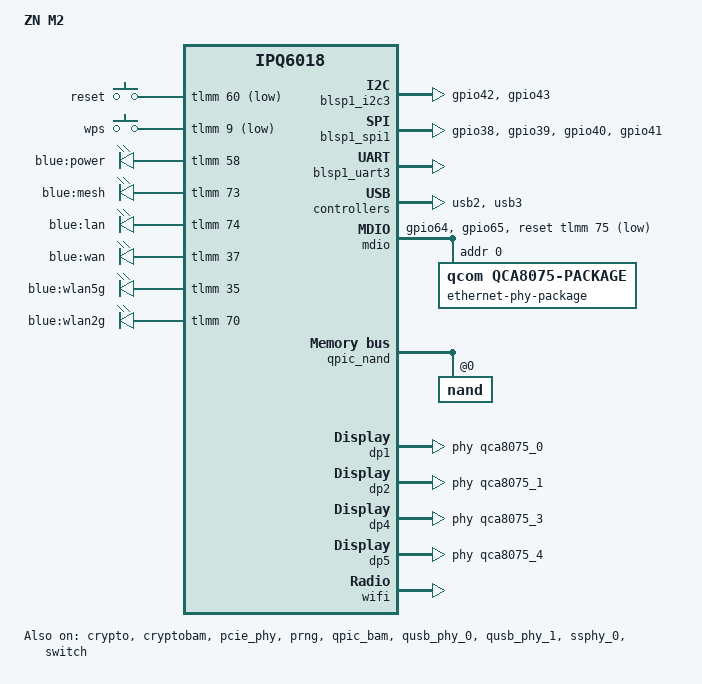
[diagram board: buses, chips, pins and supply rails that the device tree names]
// SPDX-License-Identifier: (GPL-2.0+)

/dts-v1/;

#include "ipq6018-512m.dtsi"
#include "ipq6018-ess.dtsi"
#include <dt-bindings/gpio/gpio.h>
#include <dt-bindings/input/input.h>
#include <dt-bindings/leds/common.h>


&tlmm {
	gpio-reserved-ranges = <20 1>;

	mdio_pins: mdio-pins {
		mdc {
			pins = "gpio64";
			function = "mdc";
			drive-strength = <8>;
			bias-pull-up;
		};

		mdio {
			pins = "gpio65";
			function = "mdio";
			drive-strength = <8>;
			bias-pull-up;
		};
	};

	i2c_1_pins: i2c-1-state {
		pins = "gpio42", "gpio43";
		function = "blsp2_i2c";
		drive-strength = <8>;
	};

	spi_0_pins: spi-0-state {
		pins = "gpio38", "gpio39", "gpio40", "gpio41";
		function = "blsp0_spi";
		drive-strength = <8>;
		bias-pull-down;
	};
};

&blsp1_i2c3 {
	status = "okay";
	pinctrl-0 = <&i2c_1_pins>;
	pinctrl-names = "default";
};

&blsp1_spi1 {
	status = "okay";
	pinctrl-0 = <&spi_0_pins>;
	pinctrl-names = "default";
};

&blsp1_uart3 {
	status = "okay";
	pinctrl-0 = <&serial_3_pins>;
	pinctrl-names = "default";
};

&rpm {
	status = "disabled";
};

&crypto {
	status = "okay";
};

&cryptobam {
	status = "okay";
};

&pcie_phy {
	status = "okay";
};

&prng {
	status = "okay";
};

&qpic_bam {
	status = "okay";
};

&qusb_phy_0 {
	status = "okay";
};

&qusb_phy_1 {
	status = "okay";
};

&ssphy_0 {
	status = "okay";
};

&usb2 {
	status = "okay";
};

&usb3 {
	status = "okay";
};

&cpu_opp_table {
	opp-864000000 {
		opp-supported-hw = <0xf>;
	};

	opp-1056000000 {
		opp-supported-hw = <0xf>;
	};

	opp-1200000000 {
		opp-supported-hw = <0xf>;
	};

	opp-1320000000 {
		opp-supported-hw = <0xf>;
	};

	opp-1440000000 {
		opp-supported-hw = <0xf>;
	};

	opp-1512000000 {
		opp-supported-hw = <0xf>;
	};

	opp-1608000000 {
		opp-supported-hw = <0x1>;
	};

	opp-1800000000 {
		opp-supported-hw = <0x1>;
	};
};


/ {
	aliases {
		serial0 = &blsp1_uart3;

		ethernet0 = &dp1;
		ethernet1 = &dp2;
		ethernet3 = &dp4;
		ethernet4 = &dp5;
	};

	chosen {
		stdout-path = "serial0:115200n8";
		bootargs-append = " root=/dev/ubiblock0_1";
	};

	keys {
		compatible = "gpio-keys";

		reset {
			label = "reset";
			gpios = <&tlmm 60 GPIO_ACTIVE_LOW>;
			linux,code = <KEY_RESTART>;
		};

		wps {
			label = "wps";
			gpios = <&tlmm 9 GPIO_ACTIVE_LOW>;
			linux,code = <KEY_WPS_BUTTON>;
		};
	};
};

&mdio {
	status = "okay";

	pinctrl-0 = <&mdio_pins>;
	pinctrl-names = "default";
	reset-gpios = <&tlmm 75 GPIO_ACTIVE_LOW>;

	ethernet-phy-package@0 {
		compatible = "qcom,qca8075-package";
		#address-cells = <1>;
		#size-cells = <0>;
		reg = <0>;

		qca8075_0: ethernet-phy@0 {
			compatible = "ethernet-phy-ieee802.3-c22";
			reg = <0>;
		};

		qca8075_1: ethernet-phy@1 {
			compatible = "ethernet-phy-ieee802.3-c22";
			reg = <1>;
		};

		qca8075_3: ethernet-phy@3 {
			compatible = "ethernet-phy-ieee802.3-c22";
			reg = <3>;
		};

		qca8075_4: ethernet-phy@4 {
			compatible = "ethernet-phy-ieee802.3-c22";
			reg = <4>;
		};
	};
};

&switch {
	status = "okay";

	switch_lan_bmp = <(ESS_PORT1 | ESS_PORT2 | ESS_PORT4)>;
	switch_wan_bmp = <ESS_PORT5>;
	switch_mac_mode = <MAC_MODE_PSGMII>;

	qcom,port_phyinfo {
		port@1 {
			port_id = <1>;
			phy_address = <0>;
		};

		port@2 {
			port_id = <2>;
			phy_address = <1>;
		};

		port@4 {
			port_id = <4>;
			phy_address = <3>;
		};

		port@5 {
			port_id = <5>;
			phy_address = <4>;
		};
	};
};

&qpic_nand {
	status = "okay";

	nand@0 {
		#address-cells = <1>;
		#size-cells = <1>;
		reg = <0>;

		nand-ecc-strength = <4>;
		nand-ecc-step-size = <512>;
		nand-bus-width = <8>;

		partitions {
			compatible = "qcom,smem-part";
		};
	};
};

&dp1 {
	status = "okay";
	phy-handle = <&qca8075_0>;
	label = "lan3";
};

&dp2 {
	status = "okay";
	phy-handle = <&qca8075_1>;
	label = "lan2";
};

&dp4 {
	status = "okay";
	phy-handle = <&qca8075_3>;
	label = "lan1";
};

&dp5 {
	status = "okay";
	phy-handle = <&qca8075_4>;
	label = "wan";
};

&edma {
	status = "okay";
};

/ {
	model = "ZN M2";
	compatible = "zn,m2", "qcom,ipq6018";

	aliases {
		led-boot = &led_power;
		led-failsafe = &led_power;
		led-running = &led_power;
		led-upgrade = &led_power;
	};

	leds {
		compatible = "gpio-leds";

		led_power: power {
			label = "blue:power";
			gpios = <&tlmm 58 GPIO_ACTIVE_HIGH>;
		};

		mesh {
			label = "blue:mesh";
			gpios = <&tlmm 73 GPIO_ACTIVE_HIGH>;
		};

		lan {
			label = "blue:lan";
			gpios = <&tlmm 74 GPIO_ACTIVE_HIGH>;
		};

		wan {
			label = "blue:wan";
			gpios = <&tlmm 37 GPIO_ACTIVE_HIGH>;
		};

		wlan5g {
			label = "blue:wlan5g";
			gpios = <&tlmm 35 GPIO_ACTIVE_HIGH>;
		};

		wlan2g {
			label = "blue:wlan2g";
			gpios = <&tlmm 70 GPIO_ACTIVE_HIGH>;
		};
	};
};

&wifi {
	status = "okay";
	qcom,ath11k-fw-memory-mode = <1>;
	qcom,ath11k-calibration-variant = "ZN-M2";
};
